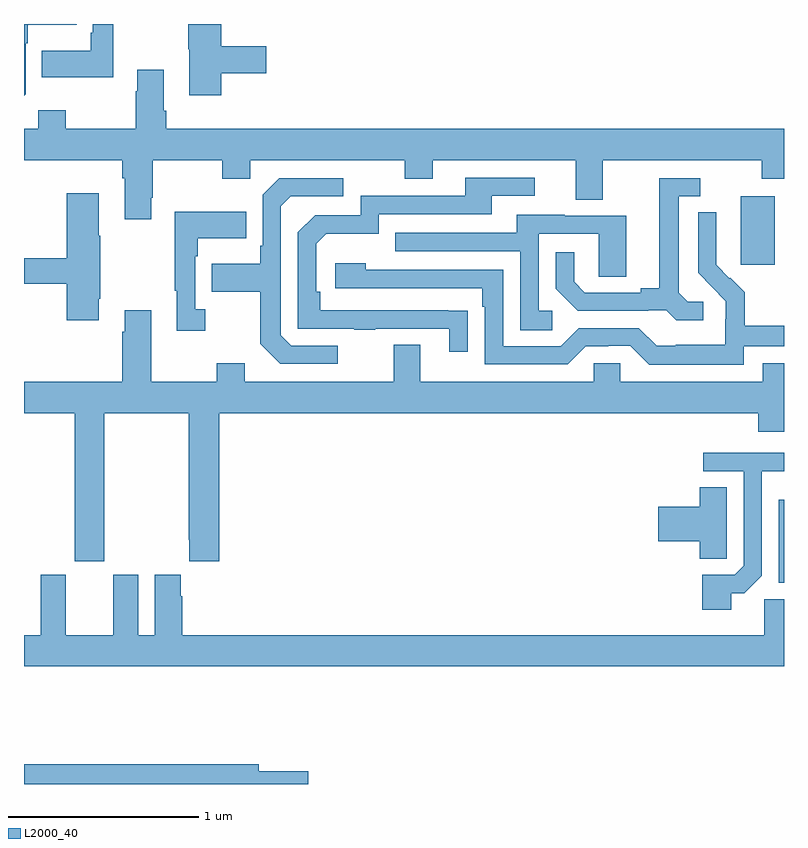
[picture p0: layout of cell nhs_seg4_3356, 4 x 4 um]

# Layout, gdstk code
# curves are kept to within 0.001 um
import gdstk
lib = gdstk.Library(unit=1e-6, precision=1e-09)
def R(c, l, rs):  # rectangles x0, y0, x1, y1
    for r in rs: c.add(gdstk.rectangle(r[:2], r[2:], *l))
def P(c, l, *ps):  # polygons
    for p in ps: c.add(gdstk.Polygon(p, *l))
L2000_40 = (2000, 40)

nhs_seg4_3356 = lib.new_cell('nhs_seg4_3356')
R(nhs_seg4_3356, L2000_40, [(292.973,763.958,293,764.395), (292.772,765.633,292.951,765.994)])
P(nhs_seg4_3356, L2000_40, [(289.008,766.53),(289.008,766.799),(289.021,766.799),(289.021,766.895),(289.277,766.895),(289.277,766.9),(289,766.9),(289,766.522)],
  [(290.039,766.642),(290.275,766.642),(290.275,766.784),(290.039,766.784),(290.039,766.9),(289.864,766.9),(289.864,766.767),(289.871,766.767),(289.871,766.524),(290.039,766.524)],
  [(289.471,766.9),(289.362,766.9),(289.362,766.855),(289.35,766.855),(289.35,766.759),(289.093,766.759),(289.093,766.619),(289.471,766.619)],
  [(289.669,765.985),(289.677,765.985),(289.677,766.184),(290.044,766.184),(290.044,766.085),(290.19,766.085),(290.19,766.184),(291.004,766.184),(291.004,766.085),(291.151,766.085),(291.151,766.184),(291.905,766.184),(291.905,765.976),(292.045,765.976),(292.045,766.184),(292.882,766.184),(292.882,766.085),(293,766.085),(293,766.348),(289.748,766.348),(289.748,766.444),(289.735,766.444),(289.735,766.66),(289.595,766.66),(289.595,766.547),(289.588,766.547),(289.588,766.348),(289.221,766.348),(289.221,766.447),(289.074,766.447),(289.074,766.348),(289,766.348),(289,766.184),(289.517,766.184),(289.517,766.088),(289.529,766.088),(289.529,765.873),(289.669,765.873)],
  [(291.335,765.392),(290.558,765.393),(290.558,765.49),(290.538,765.49),(290.538,765.744),(290.591,765.797),(290.868,765.797),(290.868,765.9),(291.463,765.9),(291.463,765.996),(291.688,765.996),(291.688,766.092),(291.323,766.092),(291.323,765.996),(290.772,765.996),(290.772,765.894),(290.532,765.894),(290.442,765.804),(290.442,765.297),(290.737,765.297),(290.737,765.292),(290.849,765.292),(290.849,765.297),(291.239,765.297),(291.239,765.174),(291.335,765.174)],
  [(292.576,765.438),(292.494,765.438),(292.447,765.485),(292.447,765.993),(292.558,765.993),(292.558,766.089),(292.343,766.089),(292.343,765.509),(292.247,765.509),(292.247,765.486),(291.952,765.486),(291.895,765.543),(291.895,765.7),(291.798,765.7),(291.798,765.506),(291.914,765.39),(292.286,765.39),(292.286,765.393),(292.38,765.393),(292.432,765.341),(292.576,765.341)],
  [(290.65,765.207),(290.406,765.207),(290.352,765.261),(290.352,765.942),(290.403,765.993),(290.68,765.993),(290.68,766.089),(290.343,766.089),(290.256,766.002),(290.256,765.733),(290.244,765.733),(290.244,765.637),(289.987,765.637),(289.987,765.49),(290.244,765.49),(290.244,765.217),(290.349,765.111),(290.65,765.111)],
  [(289.393,765.454),(289.401,765.454),(289.401,765.785),(289.393,765.785),(289.393,766.009),(289.226,766.009),(289.226,765.668),(289,765.668),(289,765.532),(289.226,765.532),(289.226,765.342),(289.393,765.342)],
  [(289.954,765.398),(289.902,765.398),(289.902,765.677),(289.915,765.677),(289.915,765.773),(290.171,765.773),(290.171,765.913),(289.794,765.913),(289.794,765.497),(289.805,765.497),(289.805,765.285),(289.954,765.285)],
  [(292.788,765.204),(293,765.204),(293,765.313),(292.793,765.313),(292.793,765.487),(292.716,765.564),(292.713,765.561),(292.643,765.632),(292.644,765.908),(292.548,765.908),(292.548,765.59),(292.694,765.442),(292.694,765.345),(292.692,765.345),(292.692,765.211),(292.429,765.211),(292.429,765.207),(292.329,765.207),(292.236,765.3),(291.921,765.3),(291.825,765.204),(291.522,765.204),(291.522,765.606),(290.798,765.606),(290.798,765.64),(290.637,765.64),(290.637,765.51),(291.413,765.51),(291.413,765.413),(291.426,765.413),(291.426,765.108),(291.861,765.108),(291.957,765.204),(292.076,765.204),(292.076,765.207),(292.191,765.207),(292.291,765.107),(292.788,765.107)],
  [(291.781,765.39),(291.708,765.39),(291.708,765.795),(292.026,765.795),(292.026,765.571),(292.171,765.571),(292.171,765.891),(291.847,765.891),(291.847,765.895),(291.593,765.895),(291.593,765.801),(290.953,765.801),(290.953,765.705),(291.612,765.705),(291.612,765.289),(291.781,765.289)],
  [(289.669,765.394),(289.529,765.394),(289.529,765.281),(289.517,765.281),(289.517,765.016),(289,765.016),(289,764.852),(289.267,764.852),(289.267,764.073),(289.422,764.073),(289.422,764.852),(289.867,764.852),(289.867,764.185),(289.871,764.185),(289.871,764.073),(290.027,764.073),(290.027,764.852),(292.865,764.852),(292.865,764.753),(293,764.753),(293,765.115),(292.889,765.115),(292.889,765.016),(292.137,765.016),(292.137,765.114),(291.999,765.114),(291.999,765.016),(291.085,765.016),(291.085,765.211),(290.945,765.211),(290.945,765.016),(290.161,765.016),(290.161,765.115),(290.014,765.115),(290.014,765.016),(289.669,765.016)],
  [(292.723,763.903),(292.791,763.903),(292.884,763.995),(292.884,764.546),(293,764.546),(293,764.643),(292.575,764.643),(292.575,764.547),(292.788,764.547),(292.788,764.049),(292.74,764.001),(292.571,764.001),(292.571,763.818),(292.723,763.818)],
  [(292.698,764.194),(292.699,764.194),(292.699,764.462),(292.556,764.462),(292.556,764.36),(292.338,764.36),(292.338,764.177),(292.556,764.177),(292.556,764.086),(292.698,764.086)],
  [(293,763.873),(292.896,763.873),(292.896,763.684),(289.832,763.684),(289.832,763.889),(289.825,763.889),(289.825,764.002),(289.688,764.002),(289.688,763.684),(289.6,763.684),(289.6,764.002),(289.469,764.002),(289.469,763.684),(289.219,763.684),(289.219,764.002),(289.088,764.002),(289.088,763.684),(289,763.684),(289,763.52),(293,763.52)],
  [(290.497,762.968),(290.236,762.968),(290.236,763.004),(289,763.004),(289,762.9),(290.497,762.9)])

lib.write_gds('nhs_seg4_3356.gds')
